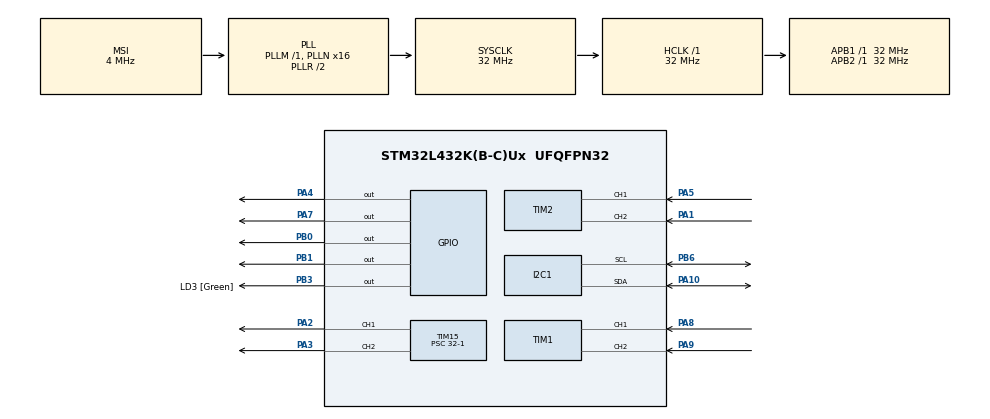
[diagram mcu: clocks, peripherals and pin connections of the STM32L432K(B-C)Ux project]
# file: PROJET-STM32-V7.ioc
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I2C1.OwnAddress=0x57
I2C1.Timing=0x00B07CB4
Mcu.Family=STM32L4
Mcu.Name=STM32L432K(B-C)Ux
Mcu.Package=UFQFPN32
NVIC.I2C1_ER_IRQn=true\:0\:0\:false\:false\:true\:true\:true\:true
NVIC.I2C1_EV_IRQn=true\:0\:0\:false\:false\:true\:true\:true\:true
NVIC.PriorityGroup=NVIC_PRIORITYGROUP_4
PA0.GPIO_Label=MCO [High speed clock in]
PA0.Mode=HSE-External-Clock-Source-for-LittleOrca
PA0.Signal=RCC_CK_IN
PA1.GPIO_PuPd=GPIO_PULLUP
PA1.Signal=S_TIM2_CH2
PA10.GPIO_Pu=GPIO_PULLUP
PA10.Mode=I2C
PA10.Signal=I2C1_SDA
PA13\ (JTMS-SWDIO).GPIO_Label=SWDIO
PA13\ (JTMS-SWDIO).Mode=Serial_Wire
PA13\ (JTMS-SWDIO).Signal=SYS_JTMS-SWDIO
PA14\ (JTCK-SWCLK).GPIO_Label=SWCLK
PA14\ (JTCK-SWCLK).Mode=Serial_Wire
PA14\ (JTCK-SWCLK).Signal=SYS_JTCK-SWCLK
PA2.Signal=S_TIM15_CH1
PA3.Signal=S_TIM15_CH2
PA4.Signal=GPIO_Output
PA5.GPIO_PuPd=GPIO_PULLUP
PA5.Signal=S_TIM2_CH1
PA7.Signal=GPIO_Output
PA8.GPIO_PuPd=GPIO_PULLUP
PA8.Signal=S_TIM1_CH1
PA9.GPIO_PuPd=GPIO_PULLUP
PA9.Signal=S_TIM1_CH2
PB0.Signal=GPIO_Output
PB1.Signal=GPIO_Output
PB3\ (JTDO-TRACESWO).GPIO_Label=LD3 [Green]
PB3\ (JTDO-TRACESWO).Signal=GPIO_Output
PB6.GPIO_Pu=GPIO_PULLUP
PB6.Mode=I2C
PB6.Signal=I2C1_SCL
PC14-OSC32_IN\ (PC14).Mode=LSE-External-Oscillator
PC14-OSC32_IN\ (PC14).Signal=RCC_OSC32_IN
PC15-OSC32_OUT\ (PC15).Mode=LSE-External-Oscillator
PC15-OSC32_OUT\ (PC15).Signal=RCC_OSC32_OUT
ProjectManager.HeapSize=0x200
ProjectManager.StackSize=0x400
ProjectManager.TargetToolchain=STM32CubeIDE
RCC.AHBFreq_Value=32000000
RCC.APB1Freq_Value=32000000
RCC.APB1TimFreq_Value=32000000
RCC.APB2Freq_Value=32000000
RCC.APB2TimFreq_Value=32000000
RCC.CortexFreq_Value=32000000
RCC.HCLKFreq_Value=32000000
RCC.HSE_VALUE=8000000
RCC.HSI16_VALUE=16000000
RCC.HSI48_VALUE=48000000
RCC.HSI_VALUE=16000000
RCC.MSI_VALUE=4000000
RCC.PLLMUL=RCC_PLLMUL_4
RCC.PLLN=16
RCC.SYSCLKFreq_VALUE=32000000
RCC.SYSCLKSource=RCC_SYSCLKSOURCE_PLLCLK
RCC.VCOOutputFreq_Value=64000000
SH.S_TIM15_CH1.0=TIM15_CH1,PWM Generation1 CH1
SH.S_TIM15_CH2.0=TIM15_CH2,PWM Generation2 CH2
SH.S_TIM1_CH1.0=TIM1_CH1,Encoder_Interface
SH.S_TIM1_CH2.0=TIM1_CH2,Encoder_Interface
SH.S_TIM2_CH1.0=TIM2_CH1,Encoder_Interface
SH.S_TIM2_CH2.0=TIM2_CH2,Encoder_Interface
TIM1.EncoderMode=TIM_ENCODERMODE_TI12
TIM15.Channel-PWM\ Generation1\ CH1=TIM_CHANNEL_1
TIM15.Channel-PWM\ Generation2\ CH2=TIM_CHANNEL_2
TIM15.Period=500-1
TIM15.Prescaler=32-1
TIM2.EncoderMode=TIM_ENCODERMODE_TI12
VP_TIM15_VS_ClockSourceINT.Mode=Internal
board=NUCLEO-L432KC

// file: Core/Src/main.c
/* USER CODE BEGIN Header */
/**
  ******************************************************************************
  * @file           : main.c
  * @brief          : Main program body
  ******************************************************************************
  * @attention
  *
  * Copyright (c) 2025 STMicroelectronics.
  * All rights reserved.
  *
  * This software is licensed under terms that can be found in the LICENSE file
  * in the root directory of this software component.
  * If no LICENSE file comes with this software, it is provided AS-IS.
  *
  ******************************************************************************
  */
/* USER CODE END Header */
#include "main.h"

/* USER CODE BEGIN PD */
// Mapping L298N sur GPIOA
#define M1_IN1_Pin        GPIO_PIN_1   // IN1 moteur 1
#define M1_IN1_GPIO_Port  GPIOB
#define M1_IN2_Pin        GPIO_PIN_4   // IN2 moteur 1
#define M1_IN2_GPIO_Port  GPIOA

#define M2_IN3_Pin        GPIO_PIN_0   // IN3 moteur 2
#define M2_IN3_GPIO_Port  GPIOB
#define M2_IN4_Pin        GPIO_PIN_7   // IN4 moteur 2
#define M2_IN4_GPIO_Port  GPIOA

// Directions des moteurs
#define DIR_BACKWARD   1
#define DIR_FORWARD    0

// Valeurs de test pour la trajectoire rectiligne (0..255)
#define M1_DUTY_STRAIGHT   207   // PWM moteur 1 // Droite
#define M2_DUTY_STRAIGHT   200   // PWM moteur 2 // Gauche (plus fort)

// ==================== Paramètres encodeurs ====================

// période de mise à jour des vitesses (ms)
#define ENC_UPDATE_PERIOD_MS   100
// même valeur en secondes (10 ms = 0.01 s)
#define ENC_UPDATE_PERIOD_S    0.01f

// Nombre d'impulsions par tour de l'engrenage qui entraîne la chenille
// ⚠️ À AJUSTER selon vos capteurs / engrenages
#define PULSES_PER_REV_M1      300.0f   // moteur 1 (TIM1)
#define PULSES_PER_REV_M2      300.0f   // moteur 2 (LPTIM1)

// Distance linéaire par impulsion (cm)
// 66 cm pour 300 impulsions  ->  66.0 / 300.0 cm par pulse
#define CM_PER_PULSE          (66.0f / 300.0f)

/* USER CODE END PD */

I2C_HandleTypeDef hi2c1;

TIM_HandleTypeDef htim1;
TIM_HandleTypeDef htim2;
TIM_HandleTypeDef htim15;

/* USER CODE BEGIN PV */
// Buffers I2C : [M1_Speed, M1_Dir, M2_Speed, M2_Dir]
uint8_t i2c_rx_buf[4];
uint8_t i2c_tx_buf[4];

// Compteurs debug (facultatif)
volatile uint32_t addr_callback_count = 0;
volatile uint32_t rx_complete_count   = 0;
volatile uint32_t tx_complete_count   = 0;
volatile uint32_t error_count         = 0;

// dernier instant où on a reçu une trame I2C
volatile uint32_t last_i2c_rx_tick = 0;

// ==================== Encodeurs : états internes ====================
// Motor 1 : TIM1 en mode encodeur
static uint16_t prevCntM1 = 0;     // dernière valeur lue TIM1->CNT (16 bits)
static int32_t  totalCountsM1 = 0; // total de "crans" depuis le démarrage
static int32_t  tM1 = 0; // total de "crans" depuis le démarrage
// Motor 2 : LPTIM1 en compteur externe (pulses Hall)
static uint16_t prevCntM2 = 0;     // dernière valeur lue LPTIM1->CNT (16 bits)
static int32_t  totalCountsM2 = 0; // total de pulses depuis le démarrage

// Résultats calculés (accessibles partout)
int32_t   speedM1_cm_s = 0;  // vitesse moteur 1 en cm/s
int32_t  speedM2_cm_s = 0;  // vitesse moteur 2 en cm/s
volatile uint32_t dt_ms;
int32_t toursM1      = 0;     // nombre de "tours" / segments parcourus (optionnel)
int32_t toursM2      = 0;

/* USER CODE END PV */

void SystemClock_Config(void);
static void MX_GPIO_Init(void);
static void MX_I2C1_Init(void);
static void MX_TIM15_Init(void);
static void MX_TIM1_Init(void);
static void MX_TIM2_Init(void);
/* USER CODE BEGIN PFP */
static void Start_I2C_Listen(void);
void Debug_Blink(int count, int delay_ms);
void Debug_I2C_State(void);

// Fonctions de contrôle moteurs
void Motors_Stop(void);
void Motors_ApplyFromI2C(void);
void Test_Trajectoire_Rectiligne(uint8_t m1_speed, uint8_t m2_speed, uint32_t duration_ms);

// ======== Nouvelles fonctions : encodeurs & vitesses ========
void Encoders_Init(void);
void Encoders_Update(void);
/* USER CODE END PFP */

int main(void)
{

  /* MCU Configuration--------------------------------------------------------*/

  /* Reset of all peripherals, Initializes the Flash interface and the Systick. */
  HAL_Init();

  /* Configure the system clock */
  SystemClock_Config();

  /* Initialize all configured peripherals */
  MX_GPIO_Init();
  MX_I2C1_Init();
  MX_TIM15_Init();
  MX_TIM1_Init();
  MX_TIM2_Init();
  /* USER CODE BEGIN 2 */
  // Démarrer le PWM sur TIM2 CH1 et CH2 (ENA / ENB du L298N)
  HAL_TIM_PWM_Start(&htim15, TIM_CHANNEL_1);
  HAL_TIM_PWM_Start(&htim15, TIM_CHANNEL_2);

  // Moteurs arrêtés au début
  Motors_Stop();

  // Petit blink de démarrage
  Debug_Blink(3, 100);

  // I2C slave en écoute
  Start_I2C_Listen();
  Debug_I2C_State();
  last_i2c_rx_tick = HAL_GetTick();

  // ======== Démarrer les encodeurs (M1 = TIM1, M2 = LPTIM1) ========
  Encoders_Init();
  /* USER CODE END 2 */

  /* Infinite loop */
  while (1)
  {

    /* USER CODE BEGIN 3 */
	    // Sécurité : si on ne reçoit plus de trame I2C pendant > 500 ms, on arrête les moteurs
	    uint32_t now = HAL_GetTick();

	    if (now - last_i2c_rx_tick > 500) {   // 500 ms sans nouvelle trame
	      Motors_Stop();
	    }

	    // Mise à jour des vitesses + nombre de tours (toutes les 10 ms)
	    Encoders_Update();

	    // Période d'échantillonnage (doit rester = ENC_UPDATE_PERIOD_MS)
	    HAL_Delay(ENC_UPDATE_PERIOD_MS);
  }
  /* USER CODE END 3 */
}

void SystemClock_Config(void)
{
  RCC_OscInitTypeDef RCC_OscInitStruct = {0};
  RCC_ClkInitTypeDef RCC_ClkInitStruct = {0};

  /** Configure the main internal regulator output voltage
  */
  if (HAL_PWREx_ControlVoltageScaling(PWR_REGULATOR_VOLTAGE_SCALE1) != HAL_OK)
  {
    Error_Handler();
  }

  /** Configure LSE Drive Capability
  */
  HAL_PWR_EnableBkUpAccess();
  __HAL_RCC_LSEDRIVE_CONFIG(RCC_LSEDRIVE_LOW);

  /** Initializes the RCC Oscillators according to the specified parameters
  * in the RCC_OscInitTypeDef structure.
  */
  RCC_OscInitStruct.OscillatorType = RCC_OSCILLATORTYPE_LSE|RCC_OSCILLATORTYPE_MSI;
  RCC_OscInitStruct.LSEState = RCC_LSE_ON;
  RCC_OscInitStruct.MSIState = RCC_MSI_ON;
  RCC_OscInitStruct.MSICalibrationValue = 0;
  RCC_OscInitStruct.MSIClockRange = RCC_MSIRANGE_6;
  RCC_OscInitStruct.PLL.PLLState = RCC_PLL_ON;
  RCC_OscInitStruct.PLL.PLLSource = RCC_PLLSOURCE_MSI;
  RCC_OscInitStruct.PLL.PLLM = 1;
  RCC_OscInitStruct.PLL.PLLN = 16;
  RCC_OscInitStruct.PLL.PLLP = RCC_PLLP_DIV7;
  RCC_OscInitStruct.PLL.PLLQ = RCC_PLLQ_DIV2;
  RCC_OscInitStruct.PLL.PLLR = RCC_PLLR_DIV2;
  if (HAL_RCC_OscConfig(&RCC_OscInitStruct) != HAL_OK)
  {
    Error_Handler();
  }

  /** Initializes the CPU, AHB and APB buses clocks
  */
  RCC_ClkInitStruct.ClockType = RCC_CLOCKTYPE_HCLK|RCC_CLOCKTYPE_SYSCLK
                              |RCC_CLOCKTYPE_PCLK1|RCC_CLOCKTYPE_PCLK2;
  RCC_ClkInitStruct.SYSCLKSource = RCC_SYSCLKSOURCE_PLLCLK;
  RCC_ClkInitStruct.AHBCLKDivider = RCC_SYSCLK_DIV1;
  RCC_ClkInitStruct.APB1CLKDivider = RCC_HCLK_DIV1;
  RCC_ClkInitStruct.APB2CLKDivider = RCC_HCLK_DIV1;

  if (HAL_RCC_ClockConfig(&RCC_ClkInitStruct, FLASH_LATENCY_1) != HAL_OK)
  {
    Error_Handler();
  }

  /** Enable MSI Auto calibration
  */
  HAL_RCCEx_EnableMSIPLLMode();
}

static void MX_I2C1_Init(void)
{

  hi2c1.Instance = I2C1;
  hi2c1.Init.Timing = 0x00B07CB4;
  hi2c1.Init.OwnAddress1 = 174;
  hi2c1.Init.AddressingMode = I2C_ADDRESSINGMODE_7BIT;
  hi2c1.Init.DualAddressMode = I2C_DUALADDRESS_DISABLE;
  hi2c1.Init.OwnAddress2 = 0;
  hi2c1.Init.OwnAddress2Masks = I2C_OA2_NOMASK;
  hi2c1.Init.GeneralCallMode = I2C_GENERALCALL_DISABLE;
  hi2c1.Init.NoStretchMode = I2C_NOSTRETCH_DISABLE;
  if (HAL_I2C_Init(&hi2c1) != HAL_OK)
  {
    Error_Handler();
  }

  /** Configure Analogue filter
  */
  if (HAL_I2CEx_ConfigAnalogFilter(&hi2c1, I2C_ANALOGFILTER_ENABLE) != HAL_OK)
  {
    Error_Handler();
  }

  /** Configure Digital filter
  */
  if (HAL_I2CEx_ConfigDigitalFilter(&hi2c1, 0) != HAL_OK)
  {
    Error_Handler();
  }

}

static void MX_TIM1_Init(void)
{

  TIM_Encoder_InitTypeDef sConfig = {0};
  TIM_MasterConfigTypeDef sMasterConfig = {0};

  htim1.Instance = TIM1;
  htim1.Init.Prescaler = 0;
  htim1.Init.CounterMode = TIM_COUNTERMODE_UP;
  htim1.Init.Period = 65535;
  htim1.Init.ClockDivision = TIM_CLOCKDIVISION_DIV1;
  htim1.Init.RepetitionCounter = 0;
  htim1.Init.AutoReloadPreload = TIM_AUTORELOAD_PRELOAD_DISABLE;
  sConfig.EncoderMode = TIM_ENCODERMODE_TI12;
  sConfig.IC1Polarity = TIM_ICPOLARITY_RISING;
  sConfig.IC1Selection = TIM_ICSELECTION_DIRECTTI;
  sConfig.IC1Prescaler = TIM_ICPSC_DIV1;
  sConfig.IC1Filter = 0;
  sConfig.IC2Polarity = TIM_ICPOLARITY_RISING;
  sConfig.IC2Selection = TIM_ICSELECTION_DIRECTTI;
  sConfig.IC2Prescaler = TIM_ICPSC_DIV1;
  sConfig.IC2Filter = 0;
  if (HAL_TIM_Encoder_Init(&htim1, &sConfig) != HAL_OK)
  {
    Error_Handler();
  }
  sMasterConfig.MasterOutputTrigger = TIM_TRGO_RESET;
  sMasterConfig.MasterOutputTrigger2 = TIM_TRGO2_RESET;
  sMasterConfig.MasterSlaveMode = TIM_MASTERSLAVEMODE_DISABLE;
  if (HAL_TIMEx_MasterConfigSynchronization(&htim1, &sMasterConfig) != HAL_OK)
  {
    Error_Handler();
  }

}

static void MX_TIM2_Init(void)
{

  TIM_Encoder_InitTypeDef sConfig = {0};
  TIM_MasterConfigTypeDef sMasterConfig = {0};

  htim2.Instance = TIM2;
  htim2.Init.Prescaler = 0;
  htim2.Init.CounterMode = TIM_COUNTERMODE_UP;
  htim2.Init.Period = 4294967295;
  htim2.Init.ClockDivision = TIM_CLOCKDIVISION_DIV1;
  htim2.Init.AutoReloadPreload = TIM_AUTORELOAD_PRELOAD_DISABLE;
  sConfig.EncoderMode = TIM_ENCODERMODE_TI12;
  sConfig.IC1Polarity = TIM_ICPOLARITY_RISING;
  sConfig.IC1Selection = TIM_ICSELECTION_DIRECTTI;
  sConfig.IC1Prescaler = TIM_ICPSC_DIV1;
  sConfig.IC1Filter = 0;
  sConfig.IC2Polarity = TIM_ICPOLARITY_RISING;
  sConfig.IC2Selection = TIM_ICSELECTION_DIRECTTI;
  sConfig.IC2Prescaler = TIM_ICPSC_DIV1;
  sConfig.IC2Filter = 0;
  if (HAL_TIM_Encoder_Init(&htim2, &sConfig) != HAL_OK)
  {
    Error_Handler();
  }
  sMasterConfig.MasterOutputTrigger = TIM_TRGO_RESET;
  sMasterConfig.MasterSlaveMode = TIM_MASTERSLAVEMODE_DISABLE;
  if (HAL_TIMEx_MasterConfigSynchronization(&htim2, &sMasterConfig) != HAL_OK)
  {
    Error_Handler();
  }

}

static void MX_TIM15_Init(void)
{

  TIM_ClockConfigTypeDef sClockSourceConfig = {0};
  TIM_MasterConfigTypeDef sMasterConfig = {0};
  TIM_OC_InitTypeDef sConfigOC = {0};
  TIM_BreakDeadTimeConfigTypeDef sBreakDeadTimeConfig = {0};

  htim15.Instance = TIM15;
  htim15.Init.Prescaler = 32-1;
  htim15.Init.CounterMode = TIM_COUNTERMODE_UP;
  htim15.Init.Period = 500-1;
  htim15.Init.ClockDivision = TIM_CLOCKDIVISION_DIV1;
  htim15.Init.RepetitionCounter = 0;
  htim15.Init.AutoReloadPreload = TIM_AUTORELOAD_PRELOAD_DISABLE;
  if (HAL_TIM_Base_Init(&htim15) != HAL_OK)
  {
    Error_Handler();
  }
  sClockSourceConfig.ClockSource = TIM_CLOCKSOURCE_INTERNAL;
  if (HAL_TIM_ConfigClockSource(&htim15, &sClockSourceConfig) != HAL_OK)
  {
    Error_Handler();
  }
  if (HAL_TIM_PWM_Init(&htim15) != HAL_OK)
  {
    Error_Handler();
  }
  sMasterConfig.MasterOutputTrigger = TIM_TRGO_RESET;
  sMasterConfig.MasterSlaveMode = TIM_MASTERSLAVEMODE_DISABLE;
  if (HAL_TIMEx_MasterConfigSynchronization(&htim15, &sMasterConfig) != HAL_OK)
  {
    Error_Handler();
  }
  sConfigOC.OCMode = TIM_OCMODE_PWM1;
  sConfigOC.Pulse = 0;
  sConfigOC.OCPolarity = TIM_OCPOLARITY_HIGH;
  sConfigOC.OCNPolarity = TIM_OCNPOLARITY_HIGH;
  sConfigOC.OCFastMode = TIM_OCFAST_DISABLE;
  sConfigOC.OCIdleState = TIM_OCIDLESTATE_RESET;
  sConfigOC.OCNIdleState = TIM_OCNIDLESTATE_RESET;
  if (HAL_TIM_PWM_ConfigChannel(&htim15, &sConfigOC, TIM_CHANNEL_1) != HAL_OK)
  {
    Error_Handler();
  }
  if (HAL_TIM_PWM_ConfigChannel(&htim15, &sConfigOC, TIM_CHANNEL_2) != HAL_OK)
  {
    Error_Handler();
  }
  sBreakDeadTimeConfig.OffStateRunMode = TIM_OSSR_DISABLE;
  sBreakDeadTimeConfig.OffStateIDLEMode = TIM_OSSI_DISABLE;
  sBreakDeadTimeConfig.LockLevel = TIM_LOCKLEVEL_OFF;
  sBreakDeadTimeConfig.DeadTime = 0;
  sBreakDeadTimeConfig.BreakState = TIM_BREAK_DISABLE;
  sBreakDeadTimeConfig.BreakPolarity = TIM_BREAKPOLARITY_HIGH;
  sBreakDeadTimeConfig.AutomaticOutput = TIM_AUTOMATICOUTPUT_DISABLE;
  if (HAL_TIMEx_ConfigBreakDeadTime(&htim15, &sBreakDeadTimeConfig) != HAL_OK)
  {
    Error_Handler();
  }
  HAL_TIM_MspPostInit(&htim15);

}

static void MX_GPIO_Init(void)
{
  GPIO_InitTypeDef GPIO_InitStruct = {0};

  /* GPIO Ports Clock Enable */
  __HAL_RCC_GPIOC_CLK_ENABLE();
  __HAL_RCC_GPIOA_CLK_ENABLE();
  __HAL_RCC_GPIOB_CLK_ENABLE();

  /*Configure GPIO pin Output Level */
  HAL_GPIO_WritePin(GPIOA, GPIO_PIN_4|GPIO_PIN_7, GPIO_PIN_RESET);

  /*Configure GPIO pin Output Level */
  HAL_GPIO_WritePin(GPIOB, GPIO_PIN_0|GPIO_PIN_1|LD3_Pin, GPIO_PIN_RESET);

  /*Configure GPIO pins : PA4 PA7 */
  GPIO_InitStruct.Pin = GPIO_PIN_4|GPIO_PIN_7;
  GPIO_InitStruct.Mode = GPIO_MODE_OUTPUT_PP;
  GPIO_InitStruct.Pull = GPIO_NOPULL;
  GPIO_InitStruct.Speed = GPIO_SPEED_FREQ_LOW;
  HAL_GPIO_Init(GPIOA, &GPIO_InitStruct);

  /*Configure GPIO pins : PB0 PB1 LD3_Pin */
  GPIO_InitStruct.Pin = GPIO_PIN_0|GPIO_PIN_1|LD3_Pin;
  GPIO_InitStruct.Mode = GPIO_MODE_OUTPUT_PP;
  GPIO_InitStruct.Pull = GPIO_NOPULL;
  GPIO_InitStruct.Speed = GPIO_SPEED_FREQ_LOW;
  HAL_GPIO_Init(GPIOB, &GPIO_InitStruct);

}

/* USER CODE BEGIN 4 */
// Convertit un duty 0..255 en valeur CCR (0..ARR)
static uint16_t DutyToCCR(uint8_t speed)
{
  uint16_t period = __HAL_TIM_GET_AUTORELOAD(&htim15); // ici 500-1 = 499
  return (uint16_t)((speed * period) / 255);
}

// Met les PWM sur ENA/ENB (TIM2_CH1/CH2)
static void Motors_SetPWM(uint8_t m1_speed, uint8_t m2_speed)
{
  uint16_t ccr1 = DutyToCCR(m1_speed);
  uint16_t ccr2 = DutyToCCR(m2_speed);

  __HAL_TIM_SET_COMPARE(&htim15, TIM_CHANNEL_1, ccr1); // ENA
  __HAL_TIM_SET_COMPARE(&htim15, TIM_CHANNEL_2, ccr2); // ENB
}

// Applique un ordre aux moteurs : vitesse + direction
// m1_dir, m2_dir : DIR_FORWARD ou DIR_BACKWARD
static void Motors_Apply(uint8_t m1_speed, uint8_t m1_dir, uint8_t m2_speed, uint8_t m2_dir)
{
  // --- Moteur 1 : IN1/IN2 + ENA ---
  if (m1_speed == 0) {
    // Stop : IN1 = IN2 = 0
    HAL_GPIO_WritePin(M1_IN1_GPIO_Port, M1_IN1_Pin, GPIO_PIN_RESET);
    HAL_GPIO_WritePin(M1_IN2_GPIO_Port, M1_IN2_Pin, GPIO_PIN_RESET);
  } else {
    if (m1_dir == DIR_FORWARD) {
      // Avant
      HAL_GPIO_WritePin(M1_IN1_GPIO_Port, M1_IN1_Pin, GPIO_PIN_RESET);
      HAL_GPIO_WritePin(M1_IN2_GPIO_Port, M1_IN2_Pin, GPIO_PIN_SET);
    } else {
      // Arrière
      HAL_GPIO_WritePin(M1_IN1_GPIO_Port, M1_IN1_Pin, GPIO_PIN_SET);
      HAL_GPIO_WritePin(M1_IN2_GPIO_Port, M1_IN2_Pin, GPIO_PIN_RESET);
    }
  }

  // --- Moteur 2 : IN3/IN4 + ENB ---
  if (m2_speed == 0) {
    HAL_GPIO_WritePin(M2_IN3_GPIO_Port, M2_IN3_Pin, GPIO_PIN_RESET);
    HAL_GPIO_WritePin(M2_IN4_GPIO_Port, M2_IN4_Pin, GPIO_PIN_RESET);
  } else {
    if (m2_dir == DIR_FORWARD) {
      // Avant
      HAL_GPIO_WritePin(M2_IN3_GPIO_Port, M2_IN3_Pin, GPIO_PIN_RESET);
      HAL_GPIO_WritePin(M2_IN4_GPIO_Port, M2_IN4_Pin, GPIO_PIN_SET);
    } else {
      // Arrière
      HAL_GPIO_WritePin(M2_IN3_GPIO_Port, M2_IN3_Pin, GPIO_PIN_SET);
      HAL_GPIO_WritePin(M2_IN4_GPIO_Port, M2_IN4_Pin, GPIO_PIN_RESET);
    }
  }

  // Appliquer les PWM
  Motors_SetPWM(m1_speed, m2_speed);
}

// Applique la trame I2C [M1_V, M1_Dir, M2_V, M2_Dir] aux moteurs (L298N)
void Motors_ApplyFromI2C(void)
{
  uint8_t m1_speed   = i2c_rx_buf[0];
  uint8_t m1_dir_bit = i2c_rx_buf[1]; // 1 = avant, 0 = arrière (vu depuis l'ESP32)
  uint8_t m2_speed   = i2c_rx_buf[2];
  uint8_t m2_dir_bit = i2c_rx_buf[3];

  // Traduction vers les constantes internes DIR_FORWARD / DIR_BACKWARD
  uint8_t m1_dir = (m1_dir_bit == 1) ? DIR_FORWARD : DIR_BACKWARD;
  uint8_t m2_dir = (m2_dir_bit == 1) ? DIR_FORWARD : DIR_BACKWARD;

  Motors_Apply(m1_speed, m1_dir, m2_speed, m2_dir);
}

// Test de trajectoire rectiligne : avance tout droit pendant "duration_ms"
void Test_Trajectoire_Rectiligne(uint8_t m1_speed, uint8_t m2_speed, uint32_t duration_ms)
{
  // Les deux moteurs en avant
  Motors_Apply(m1_speed, DIR_FORWARD, m2_speed, DIR_FORWARD);

  // On roule pendant duration_ms
  HAL_Delay(duration_ms);

  // Puis on arrête les moteurs et on laisse une pause pour se repositionner
  Motors_Stop();
  HAL_Delay(3000);  // 3 s de pause
}

// Stop complet des moteurs
void Motors_Stop(void)
{
  // Vitesse = 0
  Motors_SetPWM(0, 0);

  // H-bridge à l'arrêt
  HAL_GPIO_WritePin(M1_IN1_GPIO_Port, M1_IN1_Pin, GPIO_PIN_RESET);
  HAL_GPIO_WritePin(M1_IN2_GPIO_Port, M1_IN2_Pin, GPIO_PIN_RESET);
  HAL_GPIO_WritePin(M2_IN3_GPIO_Port, M2_IN3_Pin, GPIO_PIN_RESET);
  HAL_GPIO_WritePin(M2_IN4_GPIO_Port, M2_IN4_Pin, GPIO_PIN_RESET);
}

/* ============================================================================ */
/* I2C HAL CALLBACKS */
/* ============================================================================ */

void HAL_I2C_AddrCallback(I2C_HandleTypeDef *hi2c, uint8_t TransferDirection, uint16_t AddrMatchCode)
{
  if (hi2c->Instance != I2C1) return;

  addr_callback_count++;

  if (TransferDirection == I2C_DIRECTION_TRANSMIT) {
    // Master (ESP32) écrit vers STM32 -> on prépare une réception de 4 octets
    HAL_I2C_Slave_Seq_Receive_IT(hi2c, i2c_rx_buf, 4, I2C_FIRST_AND_LAST_FRAME);
  } else {
    // Master lit depuis STM32 -> on renvoie un écho simple
    for (int i = 0; i < 4; i++) {
      i2c_tx_buf[i] = i2c_rx_buf[i];
    }
    HAL_I2C_Slave_Seq_Transmit_IT(hi2c, i2c_tx_buf, 4, I2C_FIRST_AND_LAST_FRAME);
  }
}

void HAL_I2C_SlaveRxCpltCallback(I2C_HandleTypeDef *hi2c)
{
	  if (hi2c->Instance != I2C1) return;

	  rx_complete_count++;

	  // on note le moment de la dernière trame
	  last_i2c_rx_tick = HAL_GetTick();

	  // 1) Appliquer la trame reçue aux moteurs (comme avant)
	  Motors_ApplyFromI2C();

	  // 2) Préparer le feedback pour l'ESP32 :
	  //    on envoie les compteurs totaux (partie basse 16 bits)
	  uint16_t c1 = (uint16_t)totalCountsM1;
	  uint16_t c2 = (uint16_t)totalCountsM2;

	  // Ces 4 octets seront "échos" par HAL_I2C_AddrCallback lors du prochain READ
	  i2c_rx_buf[0] = (uint8_t)(c1 & 0xFF);        // LSB M1
	  i2c_rx_buf[1] = (uint8_t)((c1 >> 8) & 0xFF); // MSB M1
	  i2c_rx_buf[2] = (uint8_t)(c2 & 0xFF);        // LSB M2
	  i2c_rx_buf[3] = (uint8_t)((c2 >> 8) & 0xFF); // MSB M2
}

void HAL_I2C_SlaveTxCpltCallback(I2C_HandleTypeDef *hi2c)
{
  if (hi2c->Instance != I2C1) return;

  tx_complete_count++;

  // Debug : LED qui toggle à chaque envoi vers l'ESP32
  HAL_GPIO_TogglePin(LD3_GPIO_Port, LD3_Pin);
}

void HAL_I2C_ListenCpltCallback(I2C_HandleTypeDef *hi2c)
{
  if (hi2c->Instance != I2C1) return;

  // Re-activer l'écoute I2C après la fin de la transaction
  Start_I2C_Listen();
}

void HAL_I2C_ErrorCallback(I2C_HandleTypeDef *hi2c)
{
  if (hi2c->Instance != I2C1) return;

  error_count++;

  // Option : allumer LED si gros problème
  // HAL_GPIO_WritePin(LD3_GPIO_Port, LD3_Pin, GPIO_PIN_SET);
}

/* ============================================================================ */
/* HELPER FUNCTIONS */
/* ============================================================================ */

static void Start_I2C_Listen(void)
{
  HAL_StatusTypeDef status = HAL_I2C_EnableListen_IT(&hi2c1);

  if (status != HAL_OK) {
    // Blink rapide si problème
    Debug_Blink(10, 50);
  }
}

void Debug_Blink(int count, int delay_ms)
{
  for (int i = 0; i < count; i++) {
    HAL_GPIO_TogglePin(LD3_GPIO_Port, LD3_Pin);
    HAL_Delay(delay_ms);
  }
}

void Debug_I2C_State(void)
{
  HAL_I2C_StateTypeDef state = HAL_I2C_GetState(&hi2c1);

  int blinks = 0;
  if (state == HAL_I2C_STATE_READY)  blinks = 1;
  else if (state == HAL_I2C_STATE_BUSY)   blinks = 2;
  else if (state == HAL_I2C_STATE_LISTEN) blinks = 3; // bon état attendu
  else blinks = 5; // erreur

  Debug_Blink(blinks, 200);
  HAL_Delay(1000);
}

/* ====================== ENCODEURS & VITESSES ====================== */

// Initialisation des compteurs encodeurs
void Encoders_Init(void)
{
  // --- Moteur 1 : TIM1 en mode encodeur (quadrature sur PB5/PB7) ---
  __HAL_TIM_SET_COUNTER(&htim1, 0);
  prevCntM1     = 0;
  totalCountsM1 = 0;

  // Démarrer l'encodeur sur les deux canaux
  HAL_TIM_Encoder_Start(&htim1, TIM_CHANNEL_ALL);

  // --- Moteur 2 : LPTIM1 en compteur externe (pulses simples) ---
  __HAL_TIM_SET_COUNTER(&htim2, 0);
  prevCntM2     = 0;
  totalCountsM2 = 0;

  HAL_TIM_Encoder_Start(&htim2, TIM_CHANNEL_ALL);
  // Init sorties
  speedM1_cm_s = 0.0f;
  speedM2_cm_s = 0.0f;
  toursM1      = 0;
  toursM2      = 0;

}

// À appeler périodiquement (ici toutes les 10 ms dans la boucle while)
void Encoders_Update(void)
{
  // ================= Moteur 1 : TIM1 encodeur =================
  uint16_t cnt1 = (uint16_t)__HAL_TIM_GET_COUNTER(&htim1);

  // delta sur 16 bits avec gestion overflow (cast en int16_t)
  int16_t delta1 = (int16_t)(cnt1 - prevCntM1);
  prevCntM1 = cnt1;

  totalCountsM1 += abs ((int32_t)delta1);

  // ================= Moteur 2 : LPTIM1 compteur externe =================
  uint16_t cnt2 = (uint16_t)__HAL_TIM_GET_COUNTER(&htim2);

  // delta sur 16 bits avec gestion overflow (cast en int16_t)
  int16_t delta2 = (int16_t)(cnt2 - prevCntM2);
  prevCntM2 = cnt2;

  totalCountsM2 += abs ((int32_t)delta2);

  // ================= Conversion en tours & vitesses =================
  static int32_t prevTotalM1 = 0;
  static int32_t prevTotalM2 = 0;
  static uint32_t lastTick = 0;
  uint32_t now = HAL_GetTick();           // temps actuel en ms
  uint32_t dt_ms = now - lastTick;        // delta temps en ms
  lastTick = now;

  // Sécurité (au cas où c'est la 1ère fois / reset)
  if (dt_ms == 0) dt_ms = ENC_UPDATE_PERIOD_MS;

  float dt_s = dt_ms / 10000.0f;           // en secondes

  // ... ton code delta1 / delta2 ...
  if (dt_s <= 0) return;

  // 2. Différence totale
  int32_t diffM1 = totalCountsM1 - prevTotalM1;
  int32_t diffM2 = totalCountsM2 - prevTotalM2;

  prevTotalM1 = totalCountsM1;
  prevTotalM2 = totalCountsM2;

  // 3. Distance parcourue
  float d1 = diffM1 * (66.0f / 300.0f);
  float d2 = diffM2 * (66.0f / 300.0f);

  // 4. Vitesse
  speedM1_cm_s = d1 / (dt_s*36);
  speedM2_cm_s = d2 / (dt_s*36);

}

/* USER CODE END 4 */

void Error_Handler(void)
{
  __disable_irq();
  while (1)
  {
  }
}
